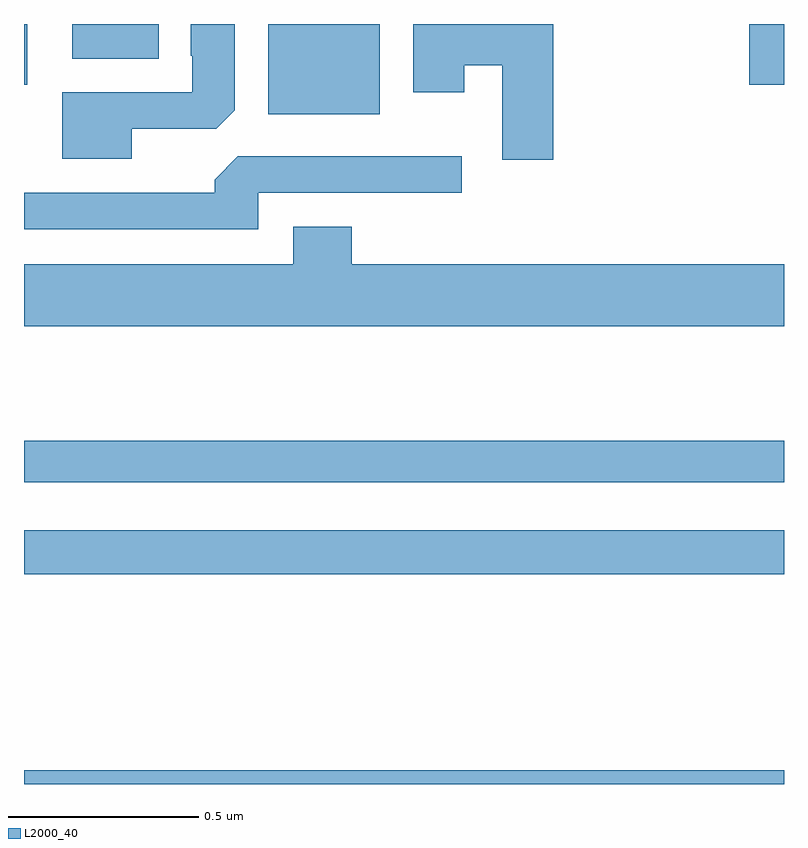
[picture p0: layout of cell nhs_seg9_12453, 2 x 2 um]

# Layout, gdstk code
import gdstk
lib = gdstk.Library(unit=1e-6, precision=1e-09)
def R(c, l, rs):  # rectangles x0, y0, x1, y1
    for r in rs: c.add(gdstk.rectangle(r[:2], r[2:], *l))
def P(c, l, *ps):  # polygons
    for p in ps: c.add(gdstk.Polygon(p, *l))
L2000_40 = (2000, 40)

nhs_seg9_12453 = lib.new_cell('nhs_seg9_12453')
R(nhs_seg9_12453, L2000_40, [(268,1244.5,270,1244.536), (268,1245.052,270,1245.168), (268,1245.294,270,1245.403), (268.643,1246.262,268.936,1246.5), (268,1246.34,268.009,1246.5), (269.909,1246.34,270,1246.5), (268.127,1246.409,268.354,1246.5)])
P(nhs_seg9_12453, L2000_40, [(268.283,1246.224),(268.506,1246.224),(268.555,1246.273),(268.555,1246.5),(268.439,1246.5),(268.439,1246.417),(268.443,1246.417),(268.443,1246.32),(268.1,1246.32),(268.1,1246.145),(268.283,1246.145)],
  [(269.393,1246.5),(269.024,1246.5),(269.024,1246.32),(269.158,1246.32),(269.158,1246.391),(269.258,1246.391),(269.258,1246.143),(269.393,1246.143)],
  [(268.617,1246.056),(269.152,1246.056),(269.152,1246.152),(268.563,1246.152),(268.502,1246.09),(268.502,1246.056),(268,1246.056),(268,1245.96),(268.617,1245.96)],
  [(270,1245.868),(268.862,1245.868),(268.862,1245.967),(268.709,1245.967),(268.709,1245.868),(268,1245.868),(268,1245.704),(270,1245.704)])

lib.write_gds('nhs_seg9_12453.gds')
